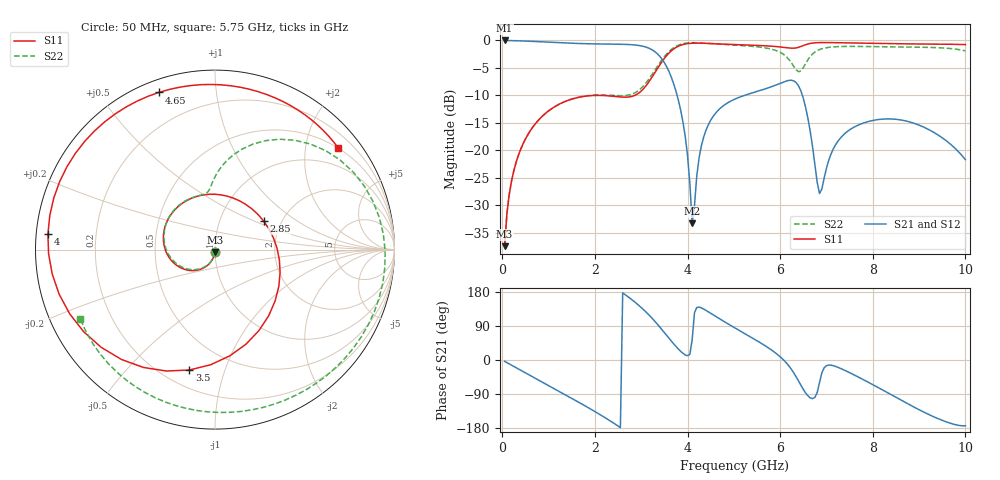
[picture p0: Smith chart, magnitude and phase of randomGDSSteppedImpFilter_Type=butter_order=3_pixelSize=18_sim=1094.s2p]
! freq	dB(S11)	phase(S11)	dB(S12)	phase(S12)
!  dB(S21)	phase(S21)	dB(S22)	phase(S22)
!S-par simulation data
#  GHz  S  DB  R 50
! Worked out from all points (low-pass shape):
!   200 points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, 50 MHz to 10 GHz, reference 50 ohm
!   highest |S21| = -0.01 dB at 50 MHz (marker M1); lowest = -33.3 dB at 4.1 GHz (marker M2)
!   |S21| within 3 dB of the highest: start of sweep to 3.411 GHz
!   lowest |S11| = -37.5 dB at 50 MHz (marker M3), VSWR 1.03, Z = 49.9 - j1.33 ohm
!   |S11| at or under -10 dB: start of sweep to 2.863 GHz
!   |S22| runs from -37.5 to -0.4 dB; largest |S21 - S12| = 0
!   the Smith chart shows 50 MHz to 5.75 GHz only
!   S11 on the Smith chart (normalised r, x): 50 MHz: 1.00, -0.03; 2.85 GHz: 1.62, +0.57; 3.5 GHz: 0.30, -0.76; 4 GHz: 0.03, +0.05; 4.65 GHz: 0.05, +0.70; 5.75 GHz: 0.49, +2.69
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0.05  -37.49 -92.7  -0.01 -3.5  -0.01 -3.5  -37.49 -92.9
0.5  -17.96 -123.6  -0.12 -34.0  -0.12 -34.0  -17.96 -125.4
1.75  -10.21 152.0  -0.59 -118.3  -0.59 -118.3  -10.18 150.0
2.85  -10.05 30.6  -0.82 154.1  -0.82 154.1  -9.61 96.0
3.4  -4.47 -82.0  -2.89 87.2  -2.89 87.2  -4.08 70.2
3.5  -3.28 -102.0  -4.05 72.4  -4.05 72.4  -2.95 59.7
4  -0.58 174.7  -20.96 11.2  -20.96 11.2  -0.47 -0.4
4.1  -0.51 162.2  -33.33 53.5  -33.33 53.5  -0.42 -11.1
4.3  -0.50 140.4  -19.17 137.4  -19.17 137.4  -0.45 -30.8
4.65  -0.63 109.7  -12.84 111.9  -12.84 111.9  -0.65 -61.0
5.05  -0.77 81.0  -10.59 82.7  -10.59 82.7  -0.87 -92.4
5.75  -1.01 39.7  -8.62 31.8  -8.62 31.8  -1.47 -152.7
6.05  -1.24 25.0  -7.64 3.0  -7.64 3.0  -2.41 165.5
6.3  -1.41 16.0  -7.40 -35.2  -7.40 -35.2  -4.82 93.0
6.5  -0.94 9.6  -10.55 -77.6  -10.55 -77.6  -4.96 -15.8
6.7  -0.48 -0.6  -19.36 -101.9  -19.36 -101.9  -2.47 -90.5
6.85  -0.40 -8.3  -27.90 -59.9  -27.90 -59.9  -1.67 -122.3
7.35  -0.44 -30.0  -17.34 -24.7  -17.34 -24.7  -1.10 174.3
7.9  -0.54 -50.1  -14.78 -58.5  -14.78 -58.5  -1.12 118.2
8.35  -0.60 -64.8  -14.30 -88.3  -14.30 -88.3  -1.18 69.7
9.05  -0.65 -85.7  -15.61 -134.3  -15.61 -134.3  -1.24 -7.6
10  -0.76 -112.6  -21.70 -173.5  -21.70 -173.5  -1.91 -102.9
